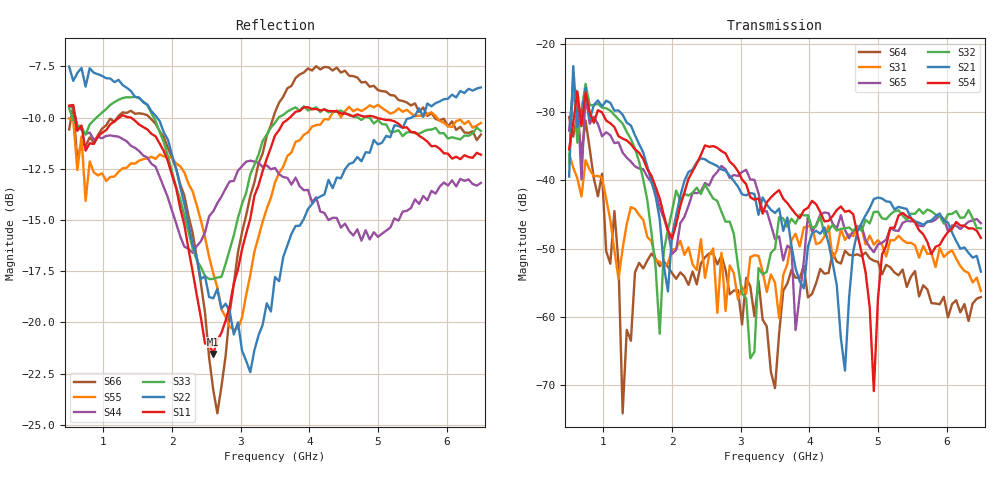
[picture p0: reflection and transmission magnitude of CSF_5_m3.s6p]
!Keysight Technologies,M9804A,MY58100912,A.14.10.03
!Date: Thursday, April 27, 2023 10:28:33
!Correction: S11(C  6-Port  )
!S12(C  6-Port  )
!S13(C  6-Port  )
!S14(C  6-Port  )
!S15(C  6-Port  )
!S16(C  6-Port  )
!S21(C  6-Port  )
!S22(C  6-Port  )
!S23(C  6-Port  )
!S24(C  6-Port  )
!S25(C  6-Port  )
!S26(C  6-Port  )
!S31(C  6-Port  )
!S32(C  6-Port  )
!S33(C  6-Port  )
!S34(C  6-Port  )
!S35(C  6-Port  )
!S36(C  6-Port  )
!S41(C  6-Port  )
!S42(C  6-Port  )
!S43(C  6-Port  )
!S44(C  6-Port  )
!S45(C  6-Port  )
!S46(C  6-Port  )
!S51(C  6-Port  )
!S52(C  6-Port  )
!S53(C  6-Port  )
!S54(C  6-Port  )
!S55(C  6-Port  )
!S56(C  6-Port  )
!S61(C  6-Port  )
!S62(C  6-Port  )
!S63(C  6-Port  )
!S64(C  6-Port  )
!S65(C  6-Port  )
!S66(C  6-Port  )
!S6P File: Measurement: :
# Hz S  RI  R 50
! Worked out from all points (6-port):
!   101 points, 500 MHz to 6.5 GHz, reference 50 ohm
!   strongest paths, dB at 500 MHz, 2 GHz, 3.5 GHz, 5 GHz, 6.5 GHz:
!     S54: -35.5, -48.6, -41.9, -57.4, -48.4
!     S21: -39.5, -48.1, -44.8, -42.5, -53.4
!     S32: -37.5, -44.5, -50.0, -44.6, -47.0
!     S65: -32.7, -50.8, -48.6, -49.4, -46.3
!     S31: -36.1, -50.2, -55.0, -48.8, -56.2
!     S64: -30.8, -53.6, -70.4, -51.9, -57.1
!   lowest |S11| = -21.5 dB at 2.6 GHz (marker M1), VSWR 1.18, Z = 42.5 + j2.11 ohm
!   |S11| at or under -10 dB: 589.3 MHz to 1.233 GHz (643.7 MHz wide, 70.6 % of centre); 1.401 GHz to 3.716 GHz (2.315 GHz wide, 90.5 % of centre); 4.976 GHz to end of sweep
